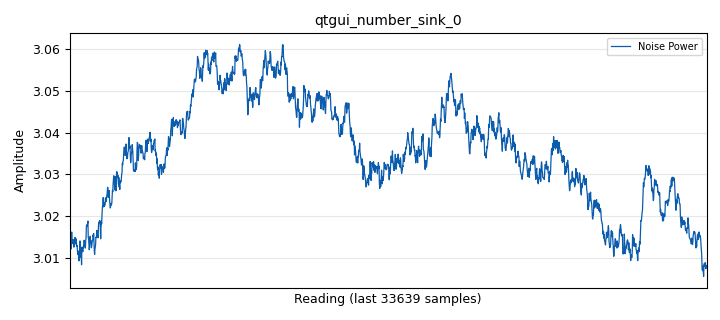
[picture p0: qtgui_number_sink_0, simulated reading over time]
<?xml version='1.0' encoding='utf-8'?>
<?grc format='1' created='3.7.9'?>
<flow_graph>
<block>
<key>options</key>
<param><key>id</key><value>top_block</value></param>
<param><key>category</key><value>Custom</value></param>
<param><key>generate_options</key><value>qt_gui</value></param>
</block>
<block>
<key>variable_qtgui_label</key>
<param><key>id</key><value>cell_details</value></param>
<param><key>value</key><value>cell_details_probe</value></param>
<param><key>gui_hint</key><value>6,0,1,1</value></param>
<param><key>label</key><value>Cells</value></param>
<param><key>type</key><value>raw</value></param>
</block>
<block>
<key>variable_function_probe</key>
<param><key>id</key><value>cell_details_probe</value></param>
<param><key>block_id</key><value>ltetrigger_cellstore</value></param>
<param><key>function_name</key><value>cells</value></param>
<param><key>poll_rate</key><value>2</value></param>
<param><key>value</key><value>(pmt.PMT_NIL, pmt.PMT_NIL, pmt.PMT_NIL)</value></param>
</block>
<block>
<key>variable</key>
<param><key>id</key><value>noise_ampl</value></param>
<param><key>value</key><value>0.01</value></param>
</block>
<block>
<key>variable_qtgui_range</key>
<param><key>id</key><value>psr_thresh</value></param>
<param><key>value</key><value>3</value></param>
<param><key>gui_hint</key><value>4,0,1,2</value></param>
<param><key>label</key><value>PSR Threshold</value></param>
<param><key>orient</key><value>Qt.Horizontal</value></param>
<param><key>start</key><value>0</value></param>
<param><key>step</key><value>0.01</value></param>
<param><key>stop</key><value>6</value></param>
</block>
<block>
<key>variable</key>
<param><key>id</key><value>samp_rate</value></param>
<param><key>value</key><value>1.92e6</value></param>
</block>
<block>
<key>variable_qtgui_range</key>
<param><key>id</key><value>signal_level</value></param>
<param><key>value</key><value>0.05</value></param>
<param><key>gui_hint</key><value>1,1,1,1</value></param>
<param><key>label</key><value>Level</value></param>
<param><key>orient</key><value>Qt.Horizontal</value></param>
<param><key>start</key><value>0</value></param>
<param><key>step</key><value>0.0001</value></param>
<param><key>stop</key><value>0.05</value></param>
<param><key>widget</key><value>slider</value></param>
</block>
<block>
<key>variable_qtgui_label</key>
<param><key>id</key><value>tracking</value></param>
<param><key>value</key><value>tracking_probe</value></param>
<param><key>gui_hint</key><value>5,0,1,1</value></param>
<param><key>label</key><value>Tracking</value></param>
<param><key>type</key><value>bool</value></param>
</block>
<block>
<key>variable_function_probe</key>
<param><key>id</key><value>tracking_probe</value></param>
<param><key>block_id</key><value>ltetrigger_cellstore</value></param>
<param><key>function_name</key><value>tracking</value></param>
<param><key>poll_rate</key><value>4</value></param>
<param><key>value</key><value>False</value></param>
</block>
<block>
<key>analog_noise_source_x</key>
<param><key>id</key><value>analog_noise_source_x_0</value></param>
<param><key>amp</key><value>noise_ampl</value></param>
<param><key>noise_type</key><value>analog.GR_GAUSSIAN</value></param>
<param><key>type</key><value>complex</value></param>
<param><key>seed</key><value>0</value></param>
</block>
<block>
<key>blocks_add_xx</key>
<param><key>id</key><value>blocks_add_xx_0</value></param>
<param><key>type</key><value>complex</value></param>
</block>
<block>
<key>blocks_complex_to_mag_squared</key>
<param><key>id</key><value>blocks_complex_to_mag_squared_0</value></param>
</block>
<block>
<key>blocks_complex_to_mag_squared</key>
<param><key>id</key><value>blocks_complex_to_mag_squared_0_0</value></param>
</block>
<block>
<key>blocks_moving_average_xx</key>
<param><key>id</key><value>blocks_moving_average_xx_0</value></param>
<param><key>length</key><value>20000</value></param>
<param><key>max_iter</key><value>4000</value></param>
<param><key>scale</key><value>1</value></param>
<param><key>type</key><value>float</value></param>
</block>
<block>
<key>blocks_moving_average_xx</key>
<param><key>id</key><value>blocks_moving_average_xx_0_0</value></param>
<param><key>length</key><value>20000</value></param>
<param><key>max_iter</key><value>4000</value></param>
<param><key>scale</key><value>1</value></param>
<param><key>type</key><value>float</value></param>
</block>
<block>
<key>blocks_multiply_const_vxx</key>
<param><key>id</key><value>blocks_multiply_const_vxx_0</value></param>
<param><key>const</key><value>signal_level</value></param>
<param><key>type</key><value>complex</value></param>
</block>
<block>
<key>blocks_nlog10_ff</key>
<param><key>id</key><value>blocks_nlog10_ff_0_0</value></param>
<param><key>k</key><value>0</value></param>
<param><key>n</key><value>10</value></param>
</block>
<block>
<key>blocks_nlog10_ff</key>
<param><key>id</key><value>blocks_nlog10_ff_0_0_0</value></param>
<param><key>k</key><value>0</value></param>
<param><key>n</key><value>10</value></param>
</block>
<block>
<key>blocks_sub_xx</key>
<param><key>id</key><value>blocks_sub_xx_0</value></param>
<param><key>type</key><value>float</value></param>
</block>
<block>
<key>blocks_throttle</key>
<param><key>id</key><value>blocks_throttle_0</value></param>
<param><key>samples_per_second</key><value>samp_rate</value></param>
<param><key>type</key><value>complex</value></param>
</block>
<block>
<key>blocks_throttle</key>
<param><key>id</key><value>blocks_throttle_0_0</value></param>
<param><key>samples_per_second</key><value>samp_rate</value></param>
<param><key>type</key><value>complex</value></param>
</block>
<block>
<key>blocks_file_source</key>
<param><key>id</key><value>file_source</value></param>
<param><key>file</key><value>/home/dja/dev/ltetrigger/gr-ltetrigger/python/test_data/lte_frame_6prb_cellid_123</value></param>
<param><key>type</key><value>complex</value></param>
<param><key>repeat</key><value>True</value></param>
</block>
<block>
<key>import</key>
<param><key>id</key><value>import_pmt</value></param>
<param><key>import</key><value>import pmt</value></param>
</block>
<block>
<key>ltetrigger_cellstore</key>
<param><key>id</key><value>ltetrigger_cellstore</value></param>
</block>
<block>
<key>ltetrigger_downlink_trigger_c</key>
<param><key>id</key><value>ltetrigger_downlink_trigger</value></param>
<param><key>exit_on_success</key><value>False</value></param>
<param><key>psr_threshold</key><value>psr_thresh</value></param>
</block>
<block>
<key>qtgui_freq_sink_x</key>
<param><key>id</key><value>qtgui_freq_sink_x_0</value></param>
<param><key>average</key><value>0.2</value></param>
<param><key>bw</key><value>samp_rate</value></param>
<param><key>fc</key><value>0</value></param>
<param><key>fftsize</key><value>1024</value></param>
<param><key>gui_hint</key><value>0,0,4,1</value></param>
<param><key>legend</key><value>False</value></param>
<param><key>showports</key><value>True</value></param>
<param><key>type</key><value>complex</value></param>
<param><key>wintype</key><value>firdes.WIN_BLACKMAN_hARRIS</value></param>
</block>
<block>
<key>qtgui_number_sink</key>
<param><key>id</key><value>qtgui_number_sink_0</value></param>
<param><key>gui_hint</key><value>2,1,1,1</value></param>
<param><key>graph_type</key><value>qtgui.NUM_GRAPH_HORIZ</value></param>
<param><key>type</key><value>float</value></param>
<param><key>label1</key><value>Noise Power</value></param>
<param><key>unit1</key><value>dB</value></param>
<param><key>max</key><value>50</value></param>
<param><key>min</key><value>-50</value></param>
<param><key>name</key><value></value></param>
</block>
<block>
<key>qtgui_number_sink</key>
<param><key>id</key><value>qtgui_number_sink_0_0</value></param>
<param><key>gui_hint</key><value>0,1,1,1</value></param>
<param><key>graph_type</key><value>qtgui.NUM_GRAPH_HORIZ</value></param>
<param><key>type</key><value>float</value></param>
<param><key>label1</key><value>Signal Power</value></param>
<param><key>unit1</key><value>dB</value></param>
<param><key>max</key><value>50</value></param>
<param><key>min</key><value>-50</value></param>
<param><key>name</key><value></value></param>
</block>
<block>
<key>qtgui_number_sink</key>
<param><key>id</key><value>qtgui_number_sink_0_0_0</value></param>
<param><key>gui_hint</key><value>3,1,1,1</value></param>
<param><key>graph_type</key><value>qtgui.NUM_GRAPH_HORIZ</value></param>
<param><key>type</key><value>float</value></param>
<param><key>label1</key><value>SNR</value></param>
<param><key>unit1</key><value>dB</value></param>
<param><key>max</key><value>50</value></param>
<param><key>min</key><value>-50</value></param>
<param><key>name</key><value></value></param>
</block>
<connection><source_block_id>analog_noise_source_x_0</source_block_id><sink_block_id>blocks_throttle_0_0</sink_block_id><source_key>0</source_key><sink_key>0</sink_key></connection>
<connection><source_block_id>blocks_add_xx_0</source_block_id><sink_block_id>ltetrigger_downlink_trigger</sink_block_id><source_key>0</source_key><sink_key>0</sink_key></connection>
<connection><source_block_id>blocks_add_xx_0</source_block_id><sink_block_id>qtgui_freq_sink_x_0</sink_block_id><source_key>0</source_key><sink_key>0</sink_key></connection>
<connection><source_block_id>blocks_complex_to_mag_squared_0</source_block_id><sink_block_id>blocks_moving_average_xx_0</sink_block_id><source_key>0</source_key><sink_key>0</sink_key></connection>
<connection><source_block_id>blocks_complex_to_mag_squared_0_0</source_block_id><sink_block_id>blocks_moving_average_xx_0_0</sink_block_id><source_key>0</source_key><sink_key>0</sink_key></connection>
<connection><source_block_id>blocks_moving_average_xx_0</source_block_id><sink_block_id>blocks_nlog10_ff_0_0_0</sink_block_id><source_key>0</source_key><sink_key>0</sink_key></connection>
<connection><source_block_id>blocks_moving_average_xx_0_0</source_block_id><sink_block_id>blocks_nlog10_ff_0_0</sink_block_id><source_key>0</source_key><sink_key>0</sink_key></connection>
<connection><source_block_id>blocks_multiply_const_vxx_0</source_block_id><sink_block_id>blocks_add_xx_0</sink_block_id><source_key>0</source_key><sink_key>0</sink_key></connection>
<connection><source_block_id>blocks_multiply_const_vxx_0</source_block_id><sink_block_id>blocks_complex_to_mag_squared_0_0</sink_block_id><source_key>0</source_key><sink_key>0</sink_key></connection>
<connection><source_block_id>blocks_nlog10_ff_0_0</source_block_id><sink_block_id>blocks_sub_xx_0</sink_block_id><source_key>0</source_key><sink_key>0</sink_key></connection>
<connection><source_block_id>blocks_nlog10_ff_0_0</source_block_id><sink_block_id>qtgui_number_sink_0_0</sink_block_id><source_key>0</source_key><sink_key>0</sink_key></connection>
<connection><source_block_id>blocks_nlog10_ff_0_0_0</source_block_id><sink_block_id>blocks_sub_xx_0</sink_block_id><source_key>0</source_key><sink_key>1</sink_key></connection>
<connection><source_block_id>blocks_nlog10_ff_0_0_0</source_block_id><sink_block_id>qtgui_number_sink_0</sink_block_id><source_key>0</source_key><sink_key>0</sink_key></connection>
<connection><source_block_id>blocks_sub_xx_0</source_block_id><sink_block_id>qtgui_number_sink_0_0_0</sink_block_id><source_key>0</source_key><sink_key>0</sink_key></connection>
<connection><source_block_id>blocks_throttle_0</source_block_id><sink_block_id>blocks_multiply_const_vxx_0</sink_block_id><source_key>0</source_key><sink_key>0</sink_key></connection>
<connection><source_block_id>blocks_throttle_0_0</source_block_id><sink_block_id>blocks_add_xx_0</sink_block_id><source_key>0</source_key><sink_key>1</sink_key></connection>
<connection><source_block_id>blocks_throttle_0_0</source_block_id><sink_block_id>blocks_complex_to_mag_squared_0</sink_block_id><source_key>0</source_key><sink_key>0</sink_key></connection>
<connection><source_block_id>file_source</source_block_id><sink_block_id>blocks_throttle_0</sink_block_id><source_key>0</source_key><sink_key>0</sink_key></connection>
<connection><source_block_id>ltetrigger_downlink_trigger</source_block_id><sink_block_id>ltetrigger_cellstore</sink_block_id><source_key>drop</source_key><sink_key>drop</sink_key></connection>
<connection><source_block_id>ltetrigger_downlink_trigger</source_block_id><sink_block_id>ltetrigger_cellstore</sink_block_id><source_key>track</source_key><sink_key>track</sink_key></connection>
</flow_graph>
